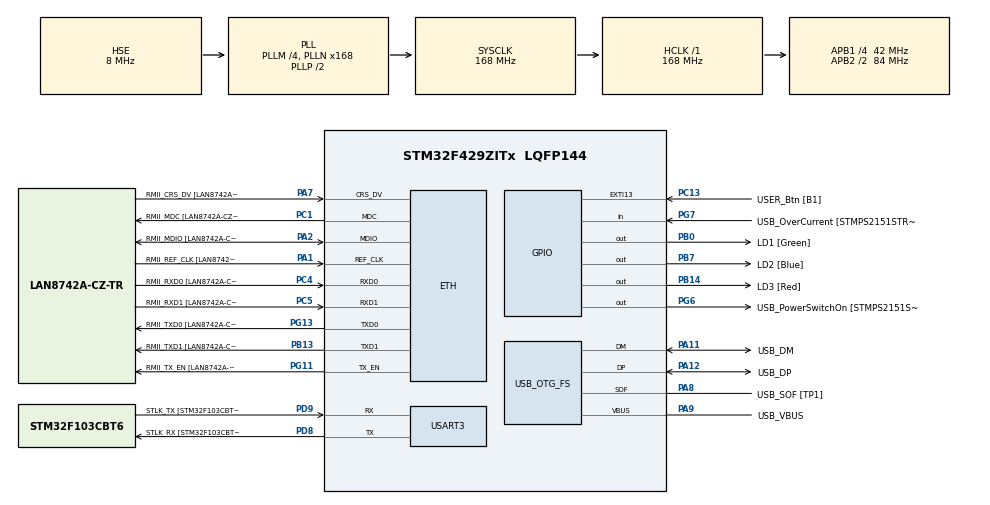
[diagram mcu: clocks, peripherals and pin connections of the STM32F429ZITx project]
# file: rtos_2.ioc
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ETH.MediaInterface=HAL_ETH_RMII_MODE
ETH.PHY_Name=LAN8742A_PHY_ADDRESS
ETH.PHY_Value=0
ETH.PhyAddress=0
FREERTOS.Tasks01=num,24,128,StartDefaultTask,Default,NULL,Dynamic,NULL,NULL
Mcu.Family=STM32F4
Mcu.Name=STM32F429ZITx
Mcu.Package=LQFP144
NVIC.PriorityGroup=NVIC_PRIORITYGROUP_4
PA1.GPIO_Label=RMII_REF_CLK [LAN8742A-CZ-TR_REFCLK0]
PA1.Mode=RMII
PA1.Signal=ETH_REF_CLK
PA10.GPIO_Label=USB_ID
PA10.Signal=USB_OTG_FS_ID
PA11.GPIO_Label=USB_DM
PA11.Mode=Device_Only
PA11.Signal=USB_OTG_FS_DM
PA12.GPIO_Label=USB_DP
PA12.Mode=Device_Only
PA12.Signal=USB_OTG_FS_DP
PA13.GPIO_Label=TMS
PA13.Mode=Serial_Wire
PA13.Signal=SYS_JTMS-SWDIO
PA14.GPIO_Label=TCK
PA14.Mode=Serial_Wire
PA14.Signal=SYS_JTCK-SWCLK
PA2.GPIO_Label=RMII_MDIO [LAN8742A-CZ-TR_MDIO]
PA2.Mode=RMII
PA2.Signal=ETH_MDIO
PA7.GPIO_Label=RMII_CRS_DV [LAN8742A-CZ-TR_CRS_DV]
PA7.Mode=RMII
PA7.Signal=ETH_CRS_DV
PA8.GPIO_Label=USB_SOF [TP1]
PA8.Mode=Activate_SOF_FS
PA8.Signal=USB_OTG_FS_SOF
PA9.GPIO_Label=USB_VBUS
PA9.Mode=Activate_VBUS
PA9.Signal=USB_OTG_FS_VBUS
PB0.GPIO_Label=LD1 [Green]
PB0.Signal=GPIO_Output
PB13.GPIO_Label=RMII_TXD1 [LAN8742A-CZ-TR_TXD1]
PB13.Mode=RMII
PB13.Signal=ETH_TXD1
PB14.GPIO_Label=LD3 [Red]
PB14.Signal=GPIO_Output
PB7.GPIO_Label=LD2 [Blue]
PB7.Signal=GPIO_Output
PC1.GPIO_Label=RMII_MDC [LAN8742A-CZ-TR_MDC]
PC1.Mode=RMII
PC1.Signal=ETH_MDC
PC13.GPIO_Label=USER_Btn [B1]
PC13.Signal=GPXTI13
PC14/OSC32_IN.Mode=LSE-External-Oscillator
PC14/OSC32_IN.Signal=RCC_OSC32_IN
PC15/OSC32_OUT.Mode=LSE-External-Oscillator
PC15/OSC32_OUT.Signal=RCC_OSC32_OUT
PC4.GPIO_Label=RMII_RXD0 [LAN8742A-CZ-TR_RXD0]
PC4.Mode=RMII
PC4.Signal=ETH_RXD0
PC5.GPIO_Label=RMII_RXD1 [LAN8742A-CZ-TR_RXD1]
PC5.Mode=RMII
PC5.Signal=ETH_RXD1
PD8.GPIO_Label=STLK_RX [STM32F103CBT6_PA3]
PD8.Mode=Asynchronous
PD8.Signal=USART3_TX
PD9.GPIO_Label=STLK_TX [STM32F103CBT6_PA2]
PD9.Mode=Asynchronous
PD9.Signal=USART3_RX
PG11.GPIO_Label=RMII_TX_EN [LAN8742A-CZ-TR_TXEN]
PG11.Mode=RMII
PG11.Signal=ETH_TX_EN
PG13.GPIO_Label=RMII_TXD0 [LAN8742A-CZ-TR_TXD0]
PG13.Mode=RMII
PG13.Signal=ETH_TXD0
PG6.GPIO_Label=USB_PowerSwitchOn [STMPS2151STR_EN]
PG6.Signal=GPIO_Output
PG7.GPIO_Label=USB_OverCurrent [STMPS2151STR_FAULT]
PG7.Signal=GPIO_Input
PH0/OSC_IN.GPIO_Label=MCO [STM32F103CBT6_PA8]
PH0/OSC_IN.Mode=HSE-External-Clock-Source
PH0/OSC_IN.Signal=RCC_OSC_IN
PH1/OSC_OUT.Mode=HSE-External-Clock-Source
PH1/OSC_OUT.Signal=RCC_OSC_OUT
ProjectManager.HeapSize=0x200
ProjectManager.StackSize=0x400
ProjectManager.TargetToolchain=STM32CubeIDE
RCC.48MHZClocksFreq_Value=48000000
RCC.AHBFreq_Value=168000000
RCC.APB1CLKDivider=RCC_HCLK_DIV4
RCC.APB1Freq_Value=42000000
RCC.APB1TimFreq_Value=84000000
RCC.APB2CLKDivider=RCC_HCLK_DIV2
RCC.APB2Freq_Value=84000000
RCC.APB2TimCLKDivider=2
RCC.APB2TimFreq_Value=168000000
RCC.CortexFreq_Value=168000000
RCC.HCLKFreq_Value=168000000
RCC.HSE_VALUE=8000000
RCC.HSI_VALUE=16000000
RCC.PLLM=4
RCC.PLLMUL=RCC_PLL_MUL9
RCC.PLLN=168
RCC.PLLQ=7
RCC.PRESCALERUSB=RCC_USBCLKSOURCE_PLL_DIV1_5
RCC.SYSCLKFreq_VALUE=168000000
RCC.SYSCLKSource=RCC_SYSCLKSOURCE_PLLCLK
RCC.SYSCLKSourceVirtual=RCC_SYSCLKSOURCE_PLLCLK
RCC.USBFreq_Value=48000000
RCC.VCOOutputFreq_Value=336000000
USART3.VirtualMode=VM_ASYNC
USB_OTG_FS.VirtualMode=Device_Only
VP_FREERTOS_VS_CMSIS_V2.Mode=CMSIS_V2
board=NUCLEO-F429ZI

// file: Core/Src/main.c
/* USER CODE BEGIN Header */
/**
  ******************************************************************************
  * @file           : main.c
  * @brief          : Main program body
  ******************************************************************************
  * @attention
  *
  * Copyright (c) 2026 STMicroelectronics.
  * All rights reserved.
  *
  * This software is licensed under terms that can be found in the LICENSE file
  * in the root directory of this software component.
  * If no LICENSE file comes with this software, it is provided AS-IS.
  *
  ******************************************************************************
  */
/* USER CODE END Header */
#include "main.h"
#include "string.h"
#include "cmsis_os.h"
#include "stdlib.h"
#include "semphr.h"

ETH_TxPacketConfig TxConfig;
ETH_DMADescTypeDef  DMARxDscrTab[ETH_RX_DESC_CNT]; /* Ethernet Rx DMA Descriptors */
ETH_DMADescTypeDef  DMATxDscrTab[ETH_TX_DESC_CNT]; /* Ethernet Tx DMA Descriptors */

ETH_HandleTypeDef heth;

UART_HandleTypeDef huart3;

PCD_HandleTypeDef hpcd_USB_OTG_FS;

/* Definitions for num */
osThreadId_t numHandle;
const osThreadAttr_t num_attributes = {
  .name = "num",
  .stack_size = 128 * 4,
  .priority = (osPriority_t) osPriorityNormal,
};

void SystemClock_Config(void);
static void MX_GPIO_Init(void);
static void MX_ETH_Init(void);
static void MX_USART3_UART_Init(void);
static void MX_USB_OTG_FS_PCD_Init(void);
void StartDefaultTask(void *argument);

/* USER CODE BEGIN 0 */
#include "stdarg.h"
#include <stdio.h>

void UART3_Init(){
	// clk enable
	RCC->AHB1ENR |= (0x1 << 3); // gpiod clk enable
	RCC->APB1ENR |= (0x1 << 18); // uart3 clk enable

	// GPIO mode
	GPIOD->MODER &= ~((0x3 << 8*2) | (0x3 << 9*2));
	GPIOD->MODER |=  ((0x2 << 8*2) | (0x2 << 9*2));  // AF mode

	GPIOD->AFR[1] = ((GPIOD->AFR[1] & ~(0xff<<0))| (0x77<<0));

	GPIOD->OSPEEDR |= ((0x3 << 8*2) | (0x3 << 9*2));

	//uart setting
	USART3->CR1 |= (0x1 << 13); // uart3 enable
	USART3->CR1 &= ~(0x1 << 12); // 8bit length set

	USART3->CR2 &= ~(0x3 << 12); //stop bit 1 length

	// systemclock_config() 함수 사용시 uart에 42Mhz clk 인가 >> 0x16D
	// systemclock_config() 함수 사용X 시 uart에 16Mhz clk 인가
	USART3->BRR = 0x16D;

	USART3->CR1 |= (0x3 << 2); // Tx, Rx enable
}

void UART3_Send_Byte(char ch){
	if (ch == '\n'){
		USART3->DR = 0x0d; // new line인 경우, '\n' 추가전송
		while(((USART3->SR >> 7) & 0x1) == 0);
	}
	USART3->DR = ch;
	while(((USART3->SR >> 7) & 0x1) == 0); // wait TXE
}

void UART3_Send_String(char* p){
    while (*p){
        UART3_Send_Byte(*p++);
    }
}

uint32_t UART3_Printf(const char* msg, ...){
	va_list args;
	char res_msg[200];
	uint32_t cnt_rtn = 0;
	va_start(args, msg);
	vsprintf(res_msg, msg, args);
	va_end(args);

	UART3_Send_String(res_msg);

	return cnt_rtn; // 출력한 문자 수 반환
}
char str[] = "abcdefghij";
SemaphoreHandle_t Uart_sem;
/* USER CODE END 0 */

int main(void)
{

  /* MCU Configuration--------------------------------------------------------*/

  /* Reset of all peripherals, Initializes the Flash interface and the Systick. */
  HAL_Init();

  /* Configure the system clock */
  SystemClock_Config();

  /* Initialize all configured peripherals */
  MX_GPIO_Init();
  //MX_ETH_Init();
  MX_USART3_UART_Init();
  //MX_USB_OTG_FS_PCD_Init();

  /* Init scheduler */
  osKernelInitialize();

  /* USER CODE BEGIN RTOS_MUTEX */
  Uart_sem = xSemaphoreCreateMutex();
  /* USER CODE END RTOS_MUTEX */

  /* Create the thread(s) */
  /* creation of num */
  //numHandle = osThreadNew(StartDefaultTask, NULL, &num_attributes);

  BaseType_t ret;

  for(int i = 0; i<10;++i){
	  ret = xTaskCreate(StartDefaultTask, "num_task", 200,(void *)(str + i), 10 - i,NULL);
	  if (ret != pdPASS){
		  UART3_Printf("%d error\n\r", i);
		  break;
	  }
	  UART3_Printf("task %d create\n\r", i);
  }

  /* Start scheduler */
  osKernelStart();

  /* We should never get here as control is now taken by the scheduler */

  /* Infinite loop */
  while (1)
  {

  }
}

void SystemClock_Config(void)
{
  RCC_OscInitTypeDef RCC_OscInitStruct = {0};
  RCC_ClkInitTypeDef RCC_ClkInitStruct = {0};

  /** Configure the main internal regulator output voltage
  */
  __HAL_RCC_PWR_CLK_ENABLE();
  __HAL_PWR_VOLTAGESCALING_CONFIG(PWR_REGULATOR_VOLTAGE_SCALE1);

  /** Initializes the RCC Oscillators according to the specified parameters
  * in the RCC_OscInitTypeDef structure.
  */
  RCC_OscInitStruct.OscillatorType = RCC_OSCILLATORTYPE_HSE;
  RCC_OscInitStruct.HSEState = RCC_HSE_BYPASS;
  RCC_OscInitStruct.PLL.PLLState = RCC_PLL_ON;
  RCC_OscInitStruct.PLL.PLLSource = RCC_PLLSOURCE_HSE;
  RCC_OscInitStruct.PLL.PLLM = 4;
  RCC_OscInitStruct.PLL.PLLN = 168;
  RCC_OscInitStruct.PLL.PLLP = RCC_PLLP_DIV2;
  RCC_OscInitStruct.PLL.PLLQ = 7;
  if (HAL_RCC_OscConfig(&RCC_OscInitStruct) != HAL_OK)
  {
    Error_Handler();
  }

  /** Initializes the CPU, AHB and APB buses clocks
  */
  RCC_ClkInitStruct.ClockType = RCC_CLOCKTYPE_HCLK|RCC_CLOCKTYPE_SYSCLK
                              |RCC_CLOCKTYPE_PCLK1|RCC_CLOCKTYPE_PCLK2;
  RCC_ClkInitStruct.SYSCLKSource = RCC_SYSCLKSOURCE_PLLCLK;
  RCC_ClkInitStruct.AHBCLKDivider = RCC_SYSCLK_DIV1;
  RCC_ClkInitStruct.APB1CLKDivider = RCC_HCLK_DIV4;
  RCC_ClkInitStruct.APB2CLKDivider = RCC_HCLK_DIV2;

  if (HAL_RCC_ClockConfig(&RCC_ClkInitStruct, FLASH_LATENCY_5) != HAL_OK)
  {
    Error_Handler();
  }
}

static void MX_ETH_Init(void)
{

   static uint8_t MACAddr[6];

  heth.Instance = ETH;
  MACAddr[0] = 0x00;
  MACAddr[1] = 0x80;
  MACAddr[2] = 0xE1;
  MACAddr[3] = 0x00;
  MACAddr[4] = 0x00;
  MACAddr[5] = 0x00;
  heth.Init.MACAddr = &MACAddr[0];
  heth.Init.MediaInterface = HAL_ETH_RMII_MODE;
  heth.Init.TxDesc = DMATxDscrTab;
  heth.Init.RxDesc = DMARxDscrTab;
  heth.Init.RxBuffLen = 1524;

  if (HAL_ETH_Init(&heth) != HAL_OK)
  {
    Error_Handler();
  }

  memset(&TxConfig, 0 , sizeof(ETH_TxPacketConfig));
  TxConfig.Attributes = ETH_TX_PACKETS_FEATURES_CSUM | ETH_TX_PACKETS_FEATURES_CRCPAD;
  TxConfig.ChecksumCtrl = ETH_CHECKSUM_IPHDR_PAYLOAD_INSERT_PHDR_CALC;
  TxConfig.CRCPadCtrl = ETH_CRC_PAD_INSERT;

}

static void MX_USART3_UART_Init(void)
{

  huart3.Instance = USART3;
  huart3.Init.BaudRate = 115200;
  huart3.Init.WordLength = UART_WORDLENGTH_8B;
  huart3.Init.StopBits = UART_STOPBITS_1;
  huart3.Init.Parity = UART_PARITY_NONE;
  huart3.Init.Mode = UART_MODE_TX_RX;
  huart3.Init.HwFlowCtl = UART_HWCONTROL_NONE;
  huart3.Init.OverSampling = UART_OVERSAMPLING_16;
  if (HAL_UART_Init(&huart3) != HAL_OK)
  {
    Error_Handler();
  }

}

static void MX_USB_OTG_FS_PCD_Init(void)
{

  hpcd_USB_OTG_FS.Instance = USB_OTG_FS;
  hpcd_USB_OTG_FS.Init.dev_endpoints = 4;
  hpcd_USB_OTG_FS.Init.speed = PCD_SPEED_FULL;
  hpcd_USB_OTG_FS.Init.dma_enable = DISABLE;
  hpcd_USB_OTG_FS.Init.phy_itface = PCD_PHY_EMBEDDED;
  hpcd_USB_OTG_FS.Init.Sof_enable = ENABLE;
  hpcd_USB_OTG_FS.Init.low_power_enable = DISABLE;
  hpcd_USB_OTG_FS.Init.lpm_enable = DISABLE;
  hpcd_USB_OTG_FS.Init.vbus_sensing_enable = ENABLE;
  hpcd_USB_OTG_FS.Init.use_dedicated_ep1 = DISABLE;
  if (HAL_PCD_Init(&hpcd_USB_OTG_FS) != HAL_OK)
  {
    Error_Handler();
  }

}

static void MX_GPIO_Init(void)
{
  GPIO_InitTypeDef GPIO_InitStruct = {0};

  /* GPIO Ports Clock Enable */
  __HAL_RCC_GPIOC_CLK_ENABLE();
  __HAL_RCC_GPIOH_CLK_ENABLE();
  __HAL_RCC_GPIOA_CLK_ENABLE();
  __HAL_RCC_GPIOB_CLK_ENABLE();
  __HAL_RCC_GPIOD_CLK_ENABLE();
  __HAL_RCC_GPIOG_CLK_ENABLE();

  /*Configure GPIO pin Output Level */
  HAL_GPIO_WritePin(GPIOB, LD1_Pin|LD3_Pin|LD2_Pin, GPIO_PIN_RESET);

  /*Configure GPIO pin Output Level */
  HAL_GPIO_WritePin(USB_PowerSwitchOn_GPIO_Port, USB_PowerSwitchOn_Pin, GPIO_PIN_RESET);

  /*Configure GPIO pin : USER_Btn_Pin */
  GPIO_InitStruct.Pin = USER_Btn_Pin;
  GPIO_InitStruct.Mode = GPIO_MODE_IT_RISING;
  GPIO_InitStruct.Pull = GPIO_NOPULL;
  HAL_GPIO_Init(USER_Btn_GPIO_Port, &GPIO_InitStruct);

  /*Configure GPIO pins : LD1_Pin LD3_Pin LD2_Pin */
  GPIO_InitStruct.Pin = LD1_Pin|LD3_Pin|LD2_Pin;
  GPIO_InitStruct.Mode = GPIO_MODE_OUTPUT_PP;
  GPIO_InitStruct.Pull = GPIO_NOPULL;
  GPIO_InitStruct.Speed = GPIO_SPEED_FREQ_LOW;
  HAL_GPIO_Init(GPIOB, &GPIO_InitStruct);

  /*Configure GPIO pin : USB_PowerSwitchOn_Pin */
  GPIO_InitStruct.Pin = USB_PowerSwitchOn_Pin;
  GPIO_InitStruct.Mode = GPIO_MODE_OUTPUT_PP;
  GPIO_InitStruct.Pull = GPIO_NOPULL;
  GPIO_InitStruct.Speed = GPIO_SPEED_FREQ_LOW;
  HAL_GPIO_Init(USB_PowerSwitchOn_GPIO_Port, &GPIO_InitStruct);

  /*Configure GPIO pin : USB_OverCurrent_Pin */
  GPIO_InitStruct.Pin = USB_OverCurrent_Pin;
  GPIO_InitStruct.Mode = GPIO_MODE_INPUT;
  GPIO_InitStruct.Pull = GPIO_NOPULL;
  HAL_GPIO_Init(USB_OverCurrent_GPIO_Port, &GPIO_InitStruct);

}

void StartDefaultTask(void *argument)
{
  /* USER CODE BEGIN 5 */
  /* Infinite loop */
	UART3_Printf("task %c start\n\r", *(char *)argument);
	int msec;
	char k = *(char *)argument;
	for(;;)
	{
		// event wait
		msec = rand()%401 + 100;
		osDelay(msec);

		// event 처리

		//lock
		// 1. taskENTER_CRITICAL();  // critical section
		//2. vTaskSuspendAll();  // suspend scaduler
		xSemaphoreTake( Uart_sem, portMAX_DELAY ); //mutex
		for (int i = 0; i < 30; ++i){
		UART3_Printf("%c%c", k, k-0x20);
		}
		UART3_Printf("\n");
		//lock
		//1. taskEXIT_CRITICAL();
		//2. xTaskResumeAll();
		xSemaphoreGive( Uart_sem );
	}
  /* USER CODE END 5 */
}

void Error_Handler(void)
{
  __disable_irq();
  while (1)
  {
  }
}
